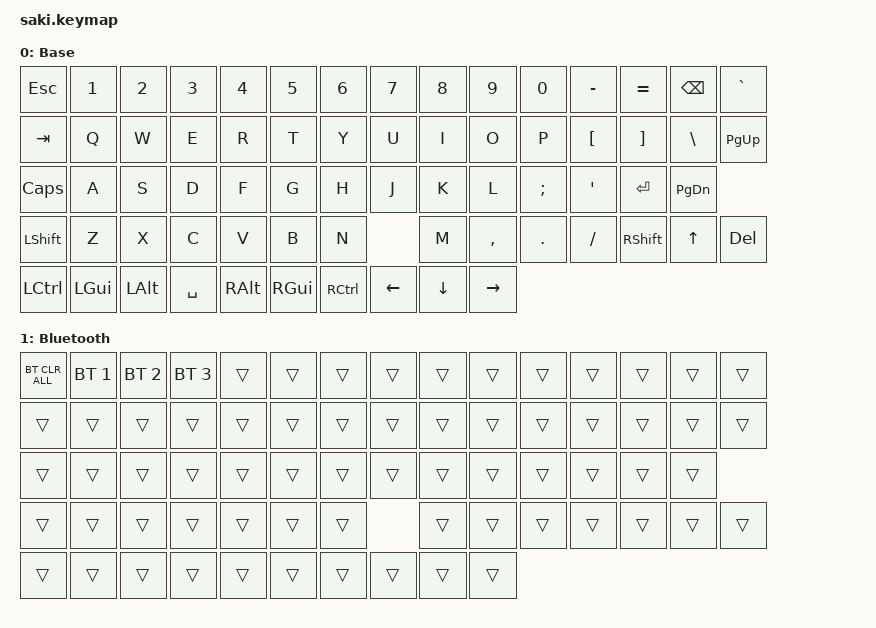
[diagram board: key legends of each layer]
#include <behaviors.dtsi>
#include <dt-bindings/zmk/bt.h>
#include <dt-bindings/zmk/keys.h>

&soft_off { hold-time-ms = <3000>; };

/ {
    keymap {
        compatible = "zmk,keymap";

        default_layer {
            display-name = "Base";
            bindings = <
&kp ESC    &kp N1    &kp N2    &kp N3     &kp N4    &kp N5    &kp N6     &kp N7    &kp N8    &kp N9     &kp N0    &kp MINUS  &kp EQUAL  &kp BSPC              &kp GRAVE
&kp TAB    &kp Q     &kp W     &kp E      &kp R     &kp T     &kp Y      &kp U     &kp I     &kp O      &kp P     &kp LBKT   &kp RBKT   &kp BSLH   &kp PG_UP
&kp CAPS   &kp A     &kp S     &kp D      &kp F     &kp G     &kp H      &kp J     &kp K     &kp L      &kp SEMI  &kp APOS   &kp ENTER  &kp PG_DN
&kp LSHFT            &kp Z     &kp X      &kp C     &kp V     &kp B      &kp N     &kp M     &kp COMMA  &kp DOT   &kp FSLH   &kp RSHFT             &kp UP     &kp DEL
&kp LCTRL  &kp LGUI  &kp LALT  &kp SPACE  &kp RALT  &kp RGUI  &kp RCTRL  &kp LEFT  &kp DOWN  &kp RIGHT
            >;
        };

        bt_layer {
            display-name = "Bluetooth";
            bindings = <
&bt BT_CLR_ALL  &bt BT_SEL 1  &bt BT_SEL 2  &bt BT_SEL 3  &trans  &trans  &trans  &trans  &trans  &trans  &trans  &trans  &trans  &trans          &trans
&trans          &trans        &trans        &trans        &trans  &trans  &trans  &trans  &trans  &trans  &trans  &trans  &trans  &trans  &trans
&trans          &trans        &trans        &trans        &trans  &trans  &trans  &trans  &trans  &trans  &trans  &trans  &trans  &trans
&trans                        &trans        &trans        &trans  &trans  &trans  &trans  &trans  &trans  &trans  &trans  &trans          &trans  &trans
&trans          &trans        &trans        &trans        &trans  &trans  &trans  &trans  &trans  &trans
            >;
        };

        extra1 { status = "reserved"; };

        extra2 { status = "reserved"; };
    };
};
